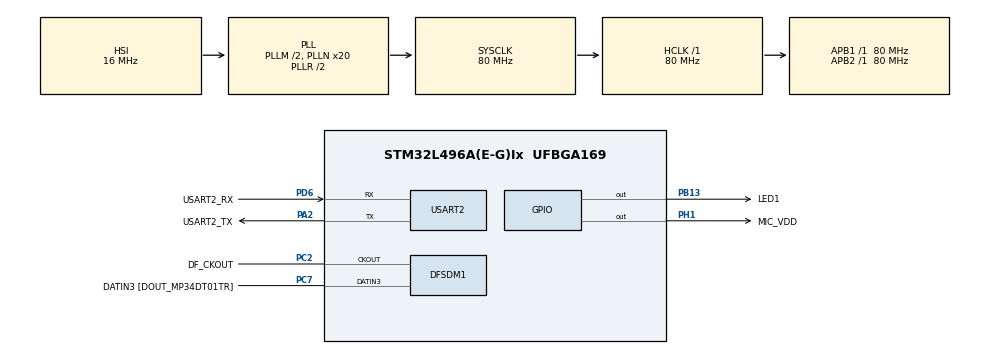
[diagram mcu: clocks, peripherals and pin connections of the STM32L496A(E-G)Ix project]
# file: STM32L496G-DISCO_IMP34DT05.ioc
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DFSDM1.Divider=37
DFSDM1.DmaMode_reg_FIL0=ENABLE
DFSDM1.DmaMode_reg_FIL1=ENABLE
DFSDM1.FastMode_reg_FIL0=ENABLE
DFSDM1.FastMode_reg_FIL1=ENABLE
DFSDM1.Filter_regChannel_FIL0=DFSDM_CHANNEL_3
DFSDM1.Filter_regChannel_FIL1=DFSDM_CHANNEL_2
DFSDM1.Fosr_FIL0=49
DFSDM1.Fosr_FIL1=49
DFSDM1.Oversampling_CH2=10
DFSDM1.Oversampling_CH3=10
DFSDM1.RightBitShift_CH2=2
DFSDM1.RightBitShift_CH3=2
DFSDM1.SincOrder_FIL0=DFSDM_FILTER_SINC3_ORDER
DFSDM1.SincOrder_FIL1=DFSDM_FILTER_SINC3_ORDER
DFSDM1.Trigger_reg_FIL1=DFSDM_FILTER_SYNC_TRIGGER
DFSDM1.Type_spi_CH2=DFSDM_CHANNEL_SPI_FALLING
Dma.DFSDM1_FLT0.0.Direction=DMA_PERIPH_TO_MEMORY
Dma.DFSDM1_FLT0.0.Instance=DMA1_Channel4
Dma.DFSDM1_FLT0.0.MemDataAlignment=DMA_MDATAALIGN_WORD
Dma.DFSDM1_FLT0.0.MemInc=DMA_MINC_ENABLE
Dma.DFSDM1_FLT0.0.Mode=DMA_CIRCULAR
Dma.DFSDM1_FLT0.0.PeriphDataAlignment=DMA_PDATAALIGN_WORD
Dma.DFSDM1_FLT0.0.PeriphInc=DMA_PINC_DISABLE
Dma.DFSDM1_FLT0.0.Priority=DMA_PRIORITY_HIGH
Dma.DFSDM1_FLT1.1.Direction=DMA_PERIPH_TO_MEMORY
Dma.DFSDM1_FLT1.1.Instance=DMA1_Channel5
Dma.DFSDM1_FLT1.1.MemDataAlignment=DMA_MDATAALIGN_WORD
Dma.DFSDM1_FLT1.1.MemInc=DMA_MINC_ENABLE
Dma.DFSDM1_FLT1.1.Mode=DMA_CIRCULAR
Dma.DFSDM1_FLT1.1.PeriphDataAlignment=DMA_PDATAALIGN_WORD
Dma.DFSDM1_FLT1.1.PeriphInc=DMA_PINC_DISABLE
Dma.DFSDM1_FLT1.1.Priority=DMA_PRIORITY_HIGH
Dma.Request0=DFSDM1_FLT0
Dma.Request1=DFSDM1_FLT1
Mcu.Family=STM32L4
Mcu.Name=STM32L496A(E-G)Ix
Mcu.Package=UFBGA169
NVIC.DFSDM1_FLT0_IRQn=true\:0\:0\:false\:false\:true\:true\:true\:true
NVIC.DFSDM1_FLT1_IRQn=true\:0\:0\:false\:false\:true\:true\:true\:true
NVIC.DMA1_Channel4_IRQn=true\:1\:0\:true\:false\:true\:false\:true\:true
NVIC.DMA1_Channel5_IRQn=true\:1\:0\:true\:false\:true\:false\:true\:true
NVIC.PriorityGroup=NVIC_PRIORITYGROUP_4
PA2.GPIO_Label=USART2_TX
PA2.Mode=Asynchronous
PA2.Signal=USART2_TX
PB13.GPIO_Label=LED1
PB13.GPIO_ModeDefaultOutputPP=GPIO_MODE_OUTPUT_OD
PB13.GPIO_PuPd=GPIO_NOPULL
PB13.Signal=GPIO_Output
PC2.GPIO_Label=DF_CKOUT
PC2.GPIO_PuPd=GPIO_PULLDOWN
PC2.GPIO_Speed=GPIO_SPEED_FREQ_VERY_HIGH
PC2.Signal=S_CKOUTDFSDM1
PC7.GPIO_Label=DATIN3 [DOUT_MP34DT01TR]
PC7.GPIO_PuPd=GPIO_PULLDOWN
PC7.GPIO_Speed=GPIO_SPEED_FREQ_VERY_HIGH
PC7.Signal=S_DATAIN3DFSDM1
PD6.GPIO_Label=USART2_RX
PD6.Mode=Asynchronous
PD6.Signal=USART2_RX
PH1-OSC_OUT\ (PH1).GPIO_Label=MIC_VDD
PH1-OSC_OUT\ (PH1).PinState=GPIO_PIN_SET
PH1-OSC_OUT\ (PH1).Signal=GPIO_Output
ProjectManager.HeapSize=0x200
ProjectManager.StackSize=0x400
ProjectManager.TargetToolchain=Makefile
RCC.ADCFreq_Value=80000000
RCC.AHBFreq_Value=80000000
RCC.APB1Freq_Value=80000000
RCC.APB1TimFreq_Value=80000000
RCC.APB2Freq_Value=80000000
RCC.APB2TimFreq_Value=80000000
RCC.CortexFreq_Value=80000000
RCC.HCLKFreq_Value=80000000
RCC.HSE_VALUE=8000000
RCC.HSI48_VALUE=48000000
RCC.HSI_VALUE=16000000
RCC.LSE_VALUE=32768
RCC.MSIClockRange=RCC_MSIRANGE_9
RCC.MSI_VALUE=24000000
RCC.PLLM=2
RCC.PLLN=20
RCC.PLLSAI1N=20
RCC.PLLSourceVirtual=RCC_PLLSOURCE_HSI
RCC.SYSCLKFreq_VALUE=80000000
RCC.SYSCLKSource=RCC_SYSCLKSOURCE_PLLCLK
RCC.USBFreq_Value=80000000
RCC.VCOOutputFreq_Value=160000000
SH.S_CKOUTDFSDM1.0=DFSDM1_CKOUT,PDM_SPI_Input_from_ch23_and_Internal_Clock
SH.S_CKOUTDFSDM1.1=DFSDM1_CKOUT,PDM_SPI_input_from_ch3_and_internal_clock
SH.S_DATAIN3DFSDM1.0=DFSDM1_DATIN3,PDM_SPI_Input_from_ch23_and_Internal_Clock
SH.S_DATAIN3DFSDM1.1=DFSDM1_DATIN3,PDM_SPI_input_from_ch3_and_internal_clock
USART2.VirtualMode-Asynchronous=VM_ASYNC
board=STM32L496G-DISCO

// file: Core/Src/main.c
/* USER CODE BEGIN Header */
/**
  ******************************************************************************
  * @file           : main.c
  * @brief          : Main program body
  ******************************************************************************
  * @attention
  *
  * Copyright (c) 2022 STMicroelectronics.
  * All rights reserved.
  *
  * This software is licensed under terms that can be found in the LICENSE file
  * in the root directory of this software component.
  * If no LICENSE file comes with this software, it is provided AS-IS.
  *
  * Formula to get the Audio Sampling Frequency:
  * 	- Audio_Sampling_Frequency = Clock_Source / (Divider * Decimation_Factor).
  * 	  <=> Audio_Sampling_Frequency = Microphone_Input_Clock / Decimation_Factor.
  * In this project we have set the following parameters:
  * 	- Clock_Source = 80 MHz.
  * 	- Divider = 37.
  * 	- Microphone_Input_Clock = 80 MHz / 37 = 2.162 MHz (1.2 MHz < Micro_Input_Clock < 3.25 MHz).
  * So the Audio Sampling Frequency looks like:
  * 	- Audio Sampling Frequency = 2.162 MHz / Decimation Factor.
  * Here we want to set it to 44.1 kHz so:
  * 	- Decimation Factor = 49.
  * 	- Audio Sampling Frequency = 2.162 MHz / 49 = 44125 Hz.
  ******************************************************************************
  */
/* USER CODE END Header */
#include "main.h"

/* USER CODE BEGIN Includes */
#include <string.h>
#include <stdio.h>
#include "cycle_dwt.h"
#include "NanoEdgeAI.h"

/* USER CODE END Includes */

/* USER CODE BEGIN PD */
/************************************************************ NEAI algorithm defines begin ************************************************************/
/************************************************************ Global settings part ************************************************************/
#ifndef SAMPLES
  #define SAMPLES           2048    /* Should be between 16 & 4096 */
#endif
/************************************************************ Datalogger / NEAI mode part ************************************************************/
#ifndef NEAI_MODE
  #define NEAI_MODE         0       /* 0: Datalogger mode, 1: NEAI functions mode */
#endif
#if (NEAI_MODE == 1)
  #ifndef NEAI_LEARN_NB
    #define NEAI_LEARN_NB   100     /* Number of buffers to be learn by the NEAI library */
  #endif
#endif
/************************************************************ NEAI algorithm defines end ************************************************************/
/* USER CODE END PD */

/* USER CODE BEGIN PM */
#define SaturaLH(N, L, H) (((N)<(L))?(L):(((N)>(H))?(H):(N)))

/* USER CODE END PM */

DFSDM_Filter_HandleTypeDef hdfsdm1_filter0;
DFSDM_Filter_HandleTypeDef hdfsdm1_filter1;
DFSDM_Channel_HandleTypeDef hdfsdm1_channel2;
DFSDM_Channel_HandleTypeDef hdfsdm1_channel3;
DMA_HandleTypeDef hdma_dfsdm1_flt0;
DMA_HandleTypeDef hdma_dfsdm1_flt1;

UART_HandleTypeDef huart2;

/* USER CODE BEGIN PV */
uint8_t neai_similarity = 0, neai_state = 0;
uint16_t neai_cnt = 0;
int32_t LeftRecBuff[SAMPLES] = {0}, RightRecBuff[SAMPLES] = {0};
uint32_t DmaLeftRecHalfBuffCplt = 0, DmaLeftRecBuffCplt = 0, DmaRightRecHalfBuffCplt = 0, DmaRightRecBuffCplt = 0;
float neai_time = 0.0;
float neai_buffer[SAMPLES] = {0.0};

/* USER CODE END PV */

void SystemClock_Config(void);
static void MX_GPIO_Init(void);
static void MX_DMA_Init(void);
static void MX_DFSDM1_Init(void);
static void MX_USART2_UART_Init(void);

int main(void)
{

  /* MCU Configuration--------------------------------------------------------*/

  /* Reset of all peripherals, Initializes the Flash interface and the Systick. */
  HAL_Init();

  /* Configure the system clock */
  SystemClock_Config();

  /* Initialize all configured peripherals */
  MX_GPIO_Init();
  MX_DMA_Init();
  MX_DFSDM1_Init();
  MX_USART2_UART_Init();
  /* USER CODE BEGIN 2 */
  KIN1_InitCycleCounter();
  KIN1_EnableCycleCounter();

  /* Min time to wait between switching on the micro and data acquisition after reboot / reset */
  HAL_Delay(100);

  /* Start DMA for micro data acquisition */
  HAL_DFSDM_FilterRegularStart_DMA(&hdfsdm1_filter1, RightRecBuff, SAMPLES);
  HAL_DFSDM_FilterRegularStart_DMA(&hdfsdm1_filter0, LeftRecBuff, SAMPLES);

  if (NEAI_MODE) {
    neai_state = neai_anomalydetection_init();
    printf("Initialize NEAI library. NEAI init return: %d.\n",  neai_state);
  }

  /* USER CODE END 2 */

  /* Infinite loop */
  /* USER CODE BEGIN WHILE */
  while (1)
  {
    /* Half complete buffer */
    if((DmaLeftRecHalfBuffCplt == 1) && (DmaRightRecHalfBuffCplt == 1)) {
      /* Fill neai_buffer with first half buffers values */
      for(uint16_t i = 0; i < SAMPLES / 2; i++) {
        neai_buffer[i] = (SaturaLH((LeftRecBuff[i] >> 8), -32768, 32767) + SaturaLH((RightRecBuff[i] >> 8), -32768, 32767)) / 2.0;
      }
      DmaLeftRecHalfBuffCplt  = 0;
      DmaRightRecHalfBuffCplt = 0;
    }
    /* Full complete buffer */
    if((DmaLeftRecBuffCplt == 1) && (DmaRightRecBuffCplt == 1)) {
      /* Full buffer complete so we stop DMA */
      HAL_DFSDM_FilterRegularStop_DMA(&hdfsdm1_filter0);
      HAL_DFSDM_FilterRegularStop_DMA(&hdfsdm1_filter1);
      /* Reset DMA "complete" variables */
      DmaLeftRecBuffCplt  = 0;
      DmaRightRecBuffCplt = 0;
      /* Fill neai_buffer with the second part of the buffers */
      for(uint16_t i = SAMPLES / 2; i < SAMPLES; i++) {
        neai_buffer[i] = (SaturaLH((LeftRecBuff[i] >> 8), -32768, 32767) + SaturaLH((RightRecBuff[i] >> 8), -32768, 32767)) / 2.0;
      }
#if NEAI_MODE
      uint32_t cycles_cnt = 0;
      if (neai_cnt < NEAI_LEARN_NB) {
        neai_cnt++;
        KIN1_ResetCycleCounter();
        neai_state = neai_anomalydetection_learn(neai_buffer);
        cycles_cnt = KIN1_GetCycleCounter();
        neai_time = (cycles_cnt * 1000000.0) / HAL_RCC_GetSysClockFreq();
        printf("Learn: %d / %d. NEAI learn return: %d. Cycles counter: %ld = %.1f µs at %ld Hz.\n",
        neai_cnt, NEAI_LEARN_NB, neai_state, cycles_cnt, neai_time, HAL_RCC_GetSysClockFreq());
      }
      else {
        KIN1_ResetCycleCounter();
        neai_state = neai_anomalydetection_detect(neai_buffer, &neai_similarity);
        cycles_cnt = KIN1_GetCycleCounter();
        neai_time = (cycles_cnt * 1000000.0) / HAL_RCC_GetSysClockFreq();
        printf("Similarity: %d / 100. NEAI detect return: %d. Cycles counter: %ld = %.1f µs at %ld Hz.\n",
        neai_similarity, neai_state, cycles_cnt, neai_time, HAL_RCC_GetSysClockFreq());
      }
#else
      for (uint16_t i = 0; i < SAMPLES; i++) {
        printf("%.1f ", neai_buffer[i]);
      }
      printf("\n");
#endif
      /* Clean neai buffer */
      memset(neai_buffer, 0x00, SAMPLES * sizeof(float));

      /* Restart DMA to collect data */
      HAL_DFSDM_FilterRegularStart_DMA(&hdfsdm1_filter1, RightRecBuff, SAMPLES);
      HAL_DFSDM_FilterRegularStart_DMA(&hdfsdm1_filter0, LeftRecBuff, SAMPLES);
    }
    /* USER CODE END WHILE */

  }
}

void SystemClock_Config(void)
{
  RCC_OscInitTypeDef RCC_OscInitStruct = {0};
  RCC_ClkInitTypeDef RCC_ClkInitStruct = {0};

  /** Configure the main internal regulator output voltage
  */
  if (HAL_PWREx_ControlVoltageScaling(PWR_REGULATOR_VOLTAGE_SCALE1) != HAL_OK)
  {
    Error_Handler();
  }

  /** Initializes the RCC Oscillators according to the specified parameters
  * in the RCC_OscInitTypeDef structure.
  */
  RCC_OscInitStruct.OscillatorType = RCC_OSCILLATORTYPE_HSI;
  RCC_OscInitStruct.HSIState = RCC_HSI_ON;
  RCC_OscInitStruct.HSICalibrationValue = RCC_HSICALIBRATION_DEFAULT;
  RCC_OscInitStruct.PLL.PLLState = RCC_PLL_ON;
  RCC_OscInitStruct.PLL.PLLSource = RCC_PLLSOURCE_HSI;
  RCC_OscInitStruct.PLL.PLLM = 2;
  RCC_OscInitStruct.PLL.PLLN = 20;
  RCC_OscInitStruct.PLL.PLLP = RCC_PLLP_DIV2;
  RCC_OscInitStruct.PLL.PLLQ = RCC_PLLQ_DIV2;
  RCC_OscInitStruct.PLL.PLLR = RCC_PLLR_DIV2;
  if (HAL_RCC_OscConfig(&RCC_OscInitStruct) != HAL_OK)
  {
    Error_Handler();
  }

  /** Initializes the CPU, AHB and APB buses clocks
  */
  RCC_ClkInitStruct.ClockType = RCC_CLOCKTYPE_HCLK|RCC_CLOCKTYPE_SYSCLK
                              |RCC_CLOCKTYPE_PCLK1|RCC_CLOCKTYPE_PCLK2;
  RCC_ClkInitStruct.SYSCLKSource = RCC_SYSCLKSOURCE_PLLCLK;
  RCC_ClkInitStruct.AHBCLKDivider = RCC_SYSCLK_DIV1;
  RCC_ClkInitStruct.APB1CLKDivider = RCC_HCLK_DIV1;
  RCC_ClkInitStruct.APB2CLKDivider = RCC_HCLK_DIV1;

  if (HAL_RCC_ClockConfig(&RCC_ClkInitStruct, FLASH_LATENCY_4) != HAL_OK)
  {
    Error_Handler();
  }
}

static void MX_DFSDM1_Init(void)
{

  /* USER CODE BEGIN DFSDM1_Init 0 */
  __HAL_DFSDM_FILTER_RESET_HANDLE_STATE(&hdfsdm1_filter0);
  __HAL_DFSDM_FILTER_RESET_HANDLE_STATE(&hdfsdm1_filter1);
  __HAL_DFSDM_CHANNEL_RESET_HANDLE_STATE(&hdfsdm1_channel2);
  __HAL_DFSDM_CHANNEL_RESET_HANDLE_STATE(&hdfsdm1_channel3);
  /* USER CODE END DFSDM1_Init 0 */

  hdfsdm1_filter0.Instance = DFSDM1_Filter0;
  hdfsdm1_filter0.Init.RegularParam.Trigger = DFSDM_FILTER_SW_TRIGGER;
  hdfsdm1_filter0.Init.RegularParam.FastMode = ENABLE;
  hdfsdm1_filter0.Init.RegularParam.DmaMode = ENABLE;
  hdfsdm1_filter0.Init.FilterParam.SincOrder = DFSDM_FILTER_SINC3_ORDER;
  hdfsdm1_filter0.Init.FilterParam.Oversampling = 49;
  hdfsdm1_filter0.Init.FilterParam.IntOversampling = 1;
  if (HAL_DFSDM_FilterInit(&hdfsdm1_filter0) != HAL_OK)
  {
    Error_Handler();
  }
  hdfsdm1_filter1.Instance = DFSDM1_Filter1;
  hdfsdm1_filter1.Init.RegularParam.Trigger = DFSDM_FILTER_SYNC_TRIGGER;
  hdfsdm1_filter1.Init.RegularParam.FastMode = ENABLE;
  hdfsdm1_filter1.Init.RegularParam.DmaMode = ENABLE;
  hdfsdm1_filter1.Init.FilterParam.SincOrder = DFSDM_FILTER_SINC3_ORDER;
  hdfsdm1_filter1.Init.FilterParam.Oversampling = 49;
  hdfsdm1_filter1.Init.FilterParam.IntOversampling = 1;
  if (HAL_DFSDM_FilterInit(&hdfsdm1_filter1) != HAL_OK)
  {
    Error_Handler();
  }
  hdfsdm1_channel2.Instance = DFSDM1_Channel2;
  hdfsdm1_channel2.Init.OutputClock.Activation = ENABLE;
  hdfsdm1_channel2.Init.OutputClock.Selection = DFSDM_CHANNEL_OUTPUT_CLOCK_SYSTEM;
  hdfsdm1_channel2.Init.OutputClock.Divider = 37;
  hdfsdm1_channel2.Init.Input.Multiplexer = DFSDM_CHANNEL_EXTERNAL_INPUTS;
  hdfsdm1_channel2.Init.Input.DataPacking = DFSDM_CHANNEL_STANDARD_MODE;
  hdfsdm1_channel2.Init.Input.Pins = DFSDM_CHANNEL_FOLLOWING_CHANNEL_PINS;
  hdfsdm1_channel2.Init.SerialInterface.Type = DFSDM_CHANNEL_SPI_FALLING;
  hdfsdm1_channel2.Init.SerialInterface.SpiClock = DFSDM_CHANNEL_SPI_CLOCK_INTERNAL;
  hdfsdm1_channel2.Init.Awd.FilterOrder = DFSDM_CHANNEL_FASTSINC_ORDER;
  hdfsdm1_channel2.Init.Awd.Oversampling = 10;
  hdfsdm1_channel2.Init.Offset = 0;
  hdfsdm1_channel2.Init.RightBitShift = 2;
  if (HAL_DFSDM_ChannelInit(&hdfsdm1_channel2) != HAL_OK)
  {
    Error_Handler();
  }
  hdfsdm1_channel3.Instance = DFSDM1_Channel3;
  hdfsdm1_channel3.Init.OutputClock.Activation = ENABLE;
  hdfsdm1_channel3.Init.OutputClock.Selection = DFSDM_CHANNEL_OUTPUT_CLOCK_SYSTEM;
  hdfsdm1_channel3.Init.OutputClock.Divider = 37;
  hdfsdm1_channel3.Init.Input.Multiplexer = DFSDM_CHANNEL_EXTERNAL_INPUTS;
  hdfsdm1_channel3.Init.Input.DataPacking = DFSDM_CHANNEL_STANDARD_MODE;
  hdfsdm1_channel3.Init.Input.Pins = DFSDM_CHANNEL_SAME_CHANNEL_PINS;
  hdfsdm1_channel3.Init.SerialInterface.Type = DFSDM_CHANNEL_SPI_RISING;
  hdfsdm1_channel3.Init.SerialInterface.SpiClock = DFSDM_CHANNEL_SPI_CLOCK_INTERNAL;
  hdfsdm1_channel3.Init.Awd.FilterOrder = DFSDM_CHANNEL_FASTSINC_ORDER;
  hdfsdm1_channel3.Init.Awd.Oversampling = 10;
  hdfsdm1_channel3.Init.Offset = 0;
  hdfsdm1_channel3.Init.RightBitShift = 2;
  if (HAL_DFSDM_ChannelInit(&hdfsdm1_channel3) != HAL_OK)
  {
    Error_Handler();
  }
  if (HAL_DFSDM_FilterConfigRegChannel(&hdfsdm1_filter0, DFSDM_CHANNEL_3, DFSDM_CONTINUOUS_CONV_ON) != HAL_OK)
  {
    Error_Handler();
  }
  if (HAL_DFSDM_FilterConfigRegChannel(&hdfsdm1_filter1, DFSDM_CHANNEL_2, DFSDM_CONTINUOUS_CONV_ON) != HAL_OK)
  {
    Error_Handler();
  }

}

static void MX_USART2_UART_Init(void)
{

  huart2.Instance = USART2;
  huart2.Init.BaudRate = 115200;
  huart2.Init.WordLength = UART_WORDLENGTH_8B;
  huart2.Init.StopBits = UART_STOPBITS_1;
  huart2.Init.Parity = UART_PARITY_NONE;
  huart2.Init.Mode = UART_MODE_TX_RX;
  huart2.Init.HwFlowCtl = UART_HWCONTROL_NONE;
  huart2.Init.OverSampling = UART_OVERSAMPLING_16;
  huart2.Init.OneBitSampling = UART_ONE_BIT_SAMPLE_DISABLE;
  huart2.AdvancedInit.AdvFeatureInit = UART_ADVFEATURE_NO_INIT;
  if (HAL_UART_Init(&huart2) != HAL_OK)
  {
    Error_Handler();
  }

}

static void MX_DMA_Init(void)
{

  /* DMA controller clock enable */
  __HAL_RCC_DMA1_CLK_ENABLE();

  /* DMA interrupt init */
  /* DMA1_Channel4_IRQn interrupt configuration */
  HAL_NVIC_SetPriority(DMA1_Channel4_IRQn, 1, 0);
  HAL_NVIC_EnableIRQ(DMA1_Channel4_IRQn);
  /* DMA1_Channel5_IRQn interrupt configuration */
  HAL_NVIC_SetPriority(DMA1_Channel5_IRQn, 1, 0);
  HAL_NVIC_EnableIRQ(DMA1_Channel5_IRQn);

}

static void MX_GPIO_Init(void)
{
  GPIO_InitTypeDef GPIO_InitStruct = {0};

  /* GPIO Ports Clock Enable */
  __HAL_RCC_GPIOD_CLK_ENABLE();
  __HAL_RCC_GPIOC_CLK_ENABLE();
  __HAL_RCC_GPIOH_CLK_ENABLE();
  __HAL_RCC_GPIOA_CLK_ENABLE();
  __HAL_RCC_GPIOB_CLK_ENABLE();

  /*Configure GPIO pin Output Level */
  HAL_GPIO_WritePin(MIC_VDD_GPIO_Port, MIC_VDD_Pin, GPIO_PIN_SET);

  /*Configure GPIO pin Output Level */
  HAL_GPIO_WritePin(LED1_GPIO_Port, LED1_Pin, GPIO_PIN_RESET);

  /*Configure GPIO pin : MIC_VDD_Pin */
  GPIO_InitStruct.Pin = MIC_VDD_Pin;
  GPIO_InitStruct.Mode = GPIO_MODE_OUTPUT_PP;
  GPIO_InitStruct.Pull = GPIO_NOPULL;
  GPIO_InitStruct.Speed = GPIO_SPEED_FREQ_LOW;
  HAL_GPIO_Init(MIC_VDD_GPIO_Port, &GPIO_InitStruct);

  /*Configure GPIO pin : LED1_Pin */
  GPIO_InitStruct.Pin = LED1_Pin;
  GPIO_InitStruct.Mode = GPIO_MODE_OUTPUT_OD;
  GPIO_InitStruct.Pull = GPIO_NOPULL;
  GPIO_InitStruct.Speed = GPIO_SPEED_FREQ_LOW;
  HAL_GPIO_Init(LED1_GPIO_Port, &GPIO_InitStruct);

}

/* USER CODE BEGIN 4 */
/**
  * @brief  Redirecting stdout to USART2 which is connected on the STLINK port
  * @retval
  * @param
  */
int __io_putchar(int ch)
{
 uint8_t c[1];
 c[0] = ch & 0x00FF;
 HAL_UART_Transmit(&huart2, &*c, 1, 10);
 return ch;
}

/**
  * @brief  Half regular conversion complete callback.
  * @param  hdfsdm_filter : DFSDM filter handle.
  * @retval None
  */
void HAL_DFSDM_FilterRegConvHalfCpltCallback(DFSDM_Filter_HandleTypeDef *hdfsdm_filter)
{
  if(hdfsdm_filter == &hdfsdm1_filter0) {
      DmaLeftRecHalfBuffCplt = 1;
  }
  else {
      DmaRightRecHalfBuffCplt = 1;
  }
}

/**
  * @brief  Regular conversion complete callback.
  * @note   In interrupt mode, user has to read conversion value in this function
            using HAL_DFSDM_FilterGetRegularValue.
  * @param  hdfsdm_filter : DFSDM filter handle.
  * @retval None
  */
void HAL_DFSDM_FilterRegConvCpltCallback(DFSDM_Filter_HandleTypeDef *hdfsdm_filter)
{
  if(hdfsdm_filter == &hdfsdm1_filter0) {
      DmaLeftRecBuffCplt = 1;
  }
  else {
      DmaRightRecBuffCplt = 1;
  }
}
/* USER CODE END 4 */

void Error_Handler(void)
{
  __disable_irq();
  while (1)
  {
  }
}
